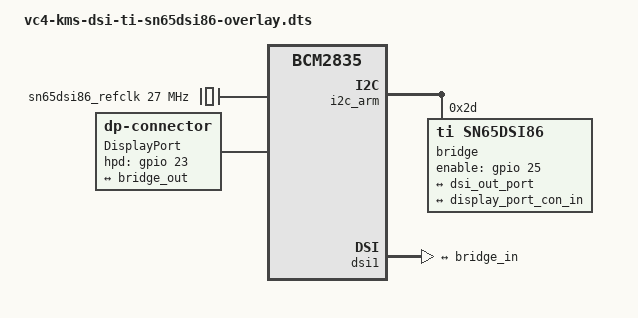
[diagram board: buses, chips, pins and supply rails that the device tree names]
/*
 * vc4-kms-dsi-sn65dsi86-overlay.dts
 */

/dts-v1/;
/plugin/;
#include <dt-bindings/gpio/gpio.h>
#include <dt-bindings/interrupt-controller/irq.h>

/ {
	compatible = "brcm,bcm2835";

	fragment@0 {
		target-path = "/";
		__overlay__ {
			sn65dsi86_refclk: sn65dsi86-refclk {
				compatible = "fixed-clock";
				#clock-cells = <0>;

				clock-frequency = <27000000>;
			};

			dp_connector {
				compatible = "dp-connector";
				label = "DisplayPort";
				type = "full-size";
				hpd-gpios = <&gpio 23 GPIO_ACTIVE_HIGH>;

				port {
					display_port_con_in: endpoint {
						remote-endpoint = <&bridge_out>;
					};
				};
			};
		};
	};

	fragment@3 {
		target = <&i2c_arm>;
		__overlay__ {
			#gpio-cells = <2>;
			#address-cells = <1>;
			#size-cells = <0>;
			status = "okay";

			bridge@2d {
				compatible = "ti,sn65dsi86";
				reg = <0x2d>;

				//interrupt-parent = <&gpio>;
				//interrupts = <24 IRQ_TYPE_LEVEL_HIGH>;

				enable-gpios = <&gpio 25 GPIO_ACTIVE_HIGH>;

				//vpll-supply = <&src_pp1800_s4a>;
				//vccio-supply = <&src_pp1800_s4a>;
				//vcca-supply = <&src_pp1200_l2a>;
				//vcc-supply = <&src_pp1200_l2a>;

				clocks = <&sn65dsi86_refclk>;
				clock-names = "refclk";

				no-hpd;

				ports {
					#address-cells = <1>;
					#size-cells = <0>;

					port@0 {
						reg = <0>;

						bridge_in: endpoint {
							remote-endpoint = <&dsi_out_port>;
						};
					};

					port@1 {
						reg = <1>;

						bridge_out: endpoint {
							data-lanes = <3 2 1 0>;
							lane-polarities = <1 1 1 1>;
							remote-endpoint = <&display_port_con_in>;
						};
					};
				};
			};
		};
	};

	fragment@4 {
		target = <&dsi1>;
		__overlay__ {
			#address-cells = <1>;
			#size-cells = <0>;
			status = "okay";
			port {
				dsi_out_port: endpoint {
					remote-endpoint = <&bridge_in>;
					data-lanes = <0 1 2 3>;
				};
			};
		};
	};
};
